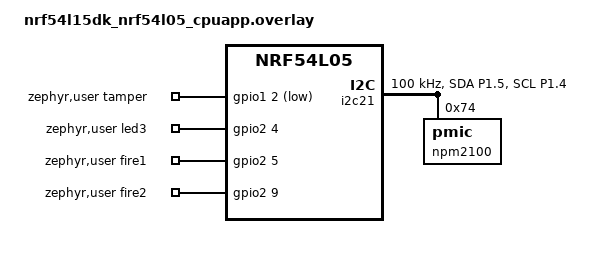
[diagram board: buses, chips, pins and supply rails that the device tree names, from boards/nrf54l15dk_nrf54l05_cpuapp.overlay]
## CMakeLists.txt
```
cmake_minimum_required(VERSION 3.20.0)

find_package(Zephyr REQUIRED HINTS $ENV{ZEPHYR_BASE})
project(tamper_test LANGUAGES C CXX)

# The nPM2100 driver is shared with the main application, unmodified.
target_include_directories(app PRIVATE ../../src)
target_sources(app PRIVATE
  src/main.cpp
  ../../src/npm2100.cpp
  ../../src/npm2100_zephyr.cpp
)
```

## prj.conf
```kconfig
# Anti-tamper button test for the CLASS MFS_1 hardware (first full revision).
#
# GPIO, I2C (nPM2100: boot monitor stop, boost at 3.3 V, supply ADC) and logging.
# No BLE, no settings.

CONFIG_CPP=y
CONFIG_STD_CPP20=y
CONFIG_REQUIRES_FULL_LIBCPP=y

CONFIG_GPIO=y

# The DK console UART (uart20) sits on P1.04 / P1.05, which are SCL_1 / SDA_1 to
# the nPM2100 on this board. Keep the UART driver out of the image entirely.
CONFIG_SERIAL=n
CONFIG_CONSOLE=n
CONFIG_UART_CONSOLE=n

# RTT logging (house style).
CONFIG_LOG=y
CONFIG_LOG_MODE_IMMEDIATE=y
CONFIG_USE_SEGGER_RTT=y
CONFIG_LOG_BACKEND_RTT=y
CONFIG_LOG_BACKEND_UART=n

# The nPM2100 boot monitor power-cycles the SoC a few seconds after boot unless the
# host stops it over I2C (see ../../src/app.cpp App::initPmic()).
CONFIG_I2C=y

# Log why the SoC last reset, so a boot-monitor or watchdog reset is visible.
CONFIG_HWINFO=y
```

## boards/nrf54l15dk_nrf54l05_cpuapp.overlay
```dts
/*
 * CLASS MFS_1 hardware, first full revision — anti-tamper button test.
 *
 * Board pin map (this revision):
 *
 *   LED1 P2.02   LED2 P2.03   LED3 P2.04
 *   FIRE_1 P2.05   FIRE_2 P2.09   (LEDs fitted on this bench unit)
 *   ANTI_TAMP P1.02
 *   ADXL_INT_1 P1.03   ADXL_INT_2 P1.13   OPT3001_INT P1.12
 *   I2C 1 (nPM2100):            SCL P1.04, SDA P1.05
 *   I2C 2 (ADXL367 + OPT3001):  SCL P1.08, SDA P1.07
 *
 *   nPM2100: GPIO_0 P1.06, GPIO_1 P2.02 (?), RESET P2.00
 *
 * ANTI_TAMP (P1.02) is a button input, active low: pressed = low. The internal
 * pull-up holds it high when released. A press drives LED3 (P2.04) and FIRE_1
 * (P2.05), then FIRE_2 (P2.09) 10 ms later. The fire pins are undriven
 * (GPIO_DISCONNECTED, external 10k pull-downs) whenever the button is up. I2C 1 is used
 * once at boot to stop the nPM2100 boot monitor, which otherwise power-cycles
 * the SoC a few seconds after boot.
 */

&pinctrl {
    i2c21_default: i2c21_default {
        group1 {
            psels = <NRF_PSEL(TWIM_SDA, 1, 5)>,
                    <NRF_PSEL(TWIM_SCL, 1, 4)>;
            bias-pull-up;
        };
    };

    i2c21_sleep: i2c21_sleep {
        group1 {
            psels = <NRF_PSEL(TWIM_SDA, 1, 5)>,
                    <NRF_PSEL(TWIM_SCL, 1, 4)>;
            low-power-enable;
        };
    };
};

&i2c21 {
    status = "okay";
    pinctrl-0 = <&i2c21_default>;
    pinctrl-1 = <&i2c21_sleep>;
    pinctrl-names = "default", "sleep";
    clock-frequency = <I2C_BITRATE_STANDARD>;

    npm2100: pmic@74 {
        reg = <0x74>;
    };
};

/* The DK files claim P2.01-P2.05 for the MX25R64 external flash on spi00
 * (P2.05 is its chip select = FIRE_1). That part is not fitted here. */
&mx25r64 {
    status = "disabled";
};

&spi00 {
    status = "disabled";
};

/* The DK console UART20 uses P1.04 / P1.05 = the nPM2100 I2C bus here. */
&uart20 {
    status = "disabled";
};

/* P1.02 / P1.03 are the NFC antenna pads. Without this UICR property the NFCT
 * block owns them and the GPIO port has no effect on the physical pin. */
&uicr {
    nfct-pins-as-gpios;
};

/ {
    zephyr,user {
        tamper-gpios = <&gpio1 2 (GPIO_ACTIVE_LOW | GPIO_PULL_UP)>;
        led3-gpios = <&gpio2 4 GPIO_ACTIVE_HIGH>;
        fire1-gpios = <&gpio2 5 GPIO_ACTIVE_HIGH>;
        fire2-gpios = <&gpio2 9 GPIO_ACTIVE_HIGH>;
    };
};
```

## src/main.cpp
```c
#include <zephyr/drivers/gpio.h>
#include <zephyr/dt-bindings/gpio/nordic-nrf-gpio.h>
#include <zephyr/drivers/hwinfo.h>
#include <zephyr/drivers/i2c.h>
#include <zephyr/kernel.h>
#include <zephyr/logging/log.h>

#include "npm2100.hpp"
#include "npm2100_zephyr.hpp"

LOG_MODULE_REGISTER(tamper_test, LOG_LEVEL_INF);

namespace alc
{

  namespace
  {

#define M_USER_NODE DT_PATH(zephyr_user)

    const gpio_dt_spec s_tamper = GPIO_DT_SPEC_GET(M_USER_NODE, tamper_gpios);
    const gpio_dt_spec s_led3   = GPIO_DT_SPEC_GET(M_USER_NODE, led3_gpios);
    const gpio_dt_spec s_fire1  = GPIO_DT_SPEC_GET(M_USER_NODE, fire1_gpios);
    const gpio_dt_spec s_fire2  = GPIO_DT_SPEC_GET(M_USER_NODE, fire2_gpios);
    const struct device* const s_pmic_bus { DEVICE_DT_GET(DT_NODELABEL(i2c21)) };

    // Boost output raised from the pin-set default to its 3.3 V maximum, so the fire gates see as
    // much drive as the nRF can give them. The STL8DN6LF3 is only partly on at 3 V (datasheet Fig. 3/4).
    constexpr uint16_t M_BOOST_MILLIVOLTS { 3300 };
    constexpr int32_t M_BOOST_SETTLE_MS { 20 };

    // High drive on both halves of the fire pins: less drop under the bench LEDs' load.
    constexpr gpio_flags_t M_FIRE_DRIVE { NRF_GPIO_DRIVE_H0H1 };

    // Supplies are sampled this long after FIRE_2 goes on, to catch the sag under the e-match load.
    constexpr int32_t M_LOAD_SAMPLE_DELAY_MS { 5 };

    constexpr float M_MILLIVOLTS_PER_VOLT { 1000.0f };

    // Poll period doubles as the debounce: a level must hold for M_DEBOUNCE_SAMPLES polls to count.
    constexpr int32_t M_POLL_INTERVAL_MS { 10 };
    constexpr uint8_t M_DEBOUNCE_SAMPLES { 3 };

    // Firing order: FIRE_1, then FIRE_2 this long after.
    constexpr int32_t M_FIRE_STAGGER_MS { 10 };

    // Logs VOUT and VBAT from the nPM2100's own ADC.
    void logSupplies(Npm2100& pmic, const char* when)
    {
      float vout { 0.0f };
      float vbat { 0.0f };

      int result { pmic.AdcReadVout(vout) };
      if (result == 0) { result = pmic.AdcReadVbat(vbat); }
      if (result < 0) {
        LOG_ERR("Supply read failed (%s): %d!", when, result);
        return;
      }

      LOG_INF("Supplies %s: VOUT %d mV, VBAT %d mV.", when, static_cast<int>(vout * M_MILLIVOLTS_PER_VOLT),
              static_cast<int>(vbat * M_MILLIVOLTS_PER_VOLT));
    }

    // Stops the boot monitor (without this the PMIC power-cycles the SoC a few seconds after boot),
    // then raises the boost output to M_BOOST_MILLIVOLTS.
    int initPmic(Npm2100& pmic)
    {
      if (!device_is_ready(s_pmic_bus)) {
        LOG_ERR("nPM2100 I2C bus not ready!");
        return -ENODEV;
      }

      int result { pmic.Init() };
      if (result == 0) { result = pmic.TimerStop(); }
      if (result < 0) {
        LOG_ERR("Failed to stop nPM2100 boot monitor: %d!", result);
        return result;
      }
      LOG_INF("nPM2100 boot monitor stopped.");

      logSupplies(pmic, "at boot");

      result = pmic.BoostSetVoltage(M_BOOST_MILLIVOLTS);
      if (result < 0) {
        LOG_ERR("Failed to set boost to %u mV: %d!", M_BOOST_MILLIVOLTS, result);
        return result;
      }
      k_msleep(M_BOOST_SETTLE_MS);

      LOG_INF("Boost target set to %u mV.", M_BOOST_MILLIVOLTS);
      logSupplies(pmic, "after boost change");
      return 0;
    }

    void logResetCause()
    {
      uint32_t cause { 0 };

      int result { hwinfo_get_reset_cause(&cause) };
      if (result < 0) {
        LOG_WRN("Reset cause unavailable: %d", result);
        return;
      }

      LOG_INF("Reset cause 0x%08x%s%s%s%s%s", cause, (cause & RESET_PIN) ? " PIN" : "", (cause & RESET_SOFTWARE) ? " SOFTWARE" : "",
              (cause & RESET_POR) ? " POWER-ON" : "", (cause & RESET_WATCHDOG) ? " WATCHDOG" : "", (cause & RESET_DEBUG) ? " DEBUG" : "");
      hwinfo_clear_reset_cause();
    }

    // Drives FIRE_1, then FIRE_2 M_FIRE_STAGGER_MS later. Pins are configured as outputs here, never before.
    int assertFire()
    {
      int result { gpio_pin_configure_dt(&s_fire1, GPIO_OUTPUT_ACTIVE | M_FIRE_DRIVE) };
      if (result < 0) {
        LOG_ERR("Failed to assert FIRE_1: %d!", result);
        return result;
      }

      k_msleep(M_FIRE_STAGGER_MS);

      result = gpio_pin_configure_dt(&s_fire2, GPIO_OUTPUT_ACTIVE | M_FIRE_DRIVE);
      if (result < 0) {
        LOG_ERR("Failed to assert FIRE_2: %d!", result);
        return result;
      }

      return 0;
    }

    // Drives both fire pins low, then leaves them undriven so the external pull-downs hold them low.
    int releaseFire()
    {
      int returnCode { 0 };
      const gpio_dt_spec* firePins[] { &s_fire1, &s_fire2 };

      for (const gpio_dt_spec* pin : firePins) {
        int result { gpio_pin_configure_dt(pin, GPIO_OUTPUT_INACTIVE | M_FIRE_DRIVE) };
        if (result == 0) { result = gpio_pin_configure_dt(pin, GPIO_DISCONNECTED); }

        if (result < 0) {
          LOG_ERR("Failed to release fire pin P2.%02u: %d!", pin->pin, result);
          returnCode = result;
        }
      }

      return returnCode;
    }

    int configurePins()
    {
      if (!gpio_is_ready_dt(&s_tamper) || !gpio_is_ready_dt(&s_led3) || !gpio_is_ready_dt(&s_fire1) || !gpio_is_ready_dt(&s_fire2)) {
        LOG_ERR("GPIO port not ready!");
        return -ENODEV;
      }

      int result { gpio_pin_configure_dt(&s_tamper, GPIO_INPUT) };
      if (result < 0) {
        LOG_ERR("Failed to configure ANTI_TAMP: %d!", result);
        return result;
      }

      result = gpio_pin_configure_dt(&s_led3, GPIO_OUTPUT_INACTIVE);
      if (result < 0) {
        LOG_ERR("Failed to configure LED3: %d!", result);
        return result;
      }

      return releaseFire();
    }

    int run()
    {
      bool pressed { false };
      uint8_t stableCount { 0 };
      uint32_t pressCount { 0 };

      LOG_INF("Anti-tamper test boot.");
      logResetCause();

      Npm2100 pmic { npm2100_zephyr::MakeZephyrTransport(s_pmic_bus) };

      // Carry on even if this fails: the button test is still useful, and the log will show the resets.
      initPmic(pmic);

      int result { configurePins() };
      if (result < 0) { return result; }

      LOG_INF(
          "Anti-tamper test started: ANTI_TAMP P1.02 (active low) -> LED3 P2.04 + FIRE_1 P2.05, FIRE_2 P2.09 (+10 ms, high drive). Initial raw level %d.",
          gpio_pin_get_raw(s_tamper.port, s_tamper.pin));

      while (true) {
        result = gpio_pin_get_dt(&s_tamper);
        if (result < 0) {
          LOG_ERR("Failed to read ANTI_TAMP: %d!", result);
          return result;
        }

        bool level { result == 1 };
        if (level == pressed) {
          stableCount = 0;
        } else if (++stableCount >= M_DEBOUNCE_SAMPLES) {
          pressed     = level;
          stableCount = 0;

          if (pressed) {
            pressCount++;
            gpio_pin_set_dt(&s_led3, 1);
            result = assertFire();
            k_msleep(M_LOAD_SAMPLE_DELAY_MS);
            LOG_INF("ANTI_TAMP pressed (count %u) - LED3 on, FIRE_1 then FIRE_2 on (result %d).", pressCount, result);
            logSupplies(pmic, "while firing");
          } else {
            result = releaseFire();
            gpio_pin_set_dt(&s_led3, 0);
            LOG_INF("ANTI_TAMP released - FIRE_1 and FIRE_2 off, LED3 off (result %d).", result);
            logSupplies(pmic, "after release");
          }
        }

        k_msleep(M_POLL_INTERVAL_MS);
      }

      return 0;
    }

  } // namespace

} // namespace alc

int main()
{ return alc::run(); }
```
